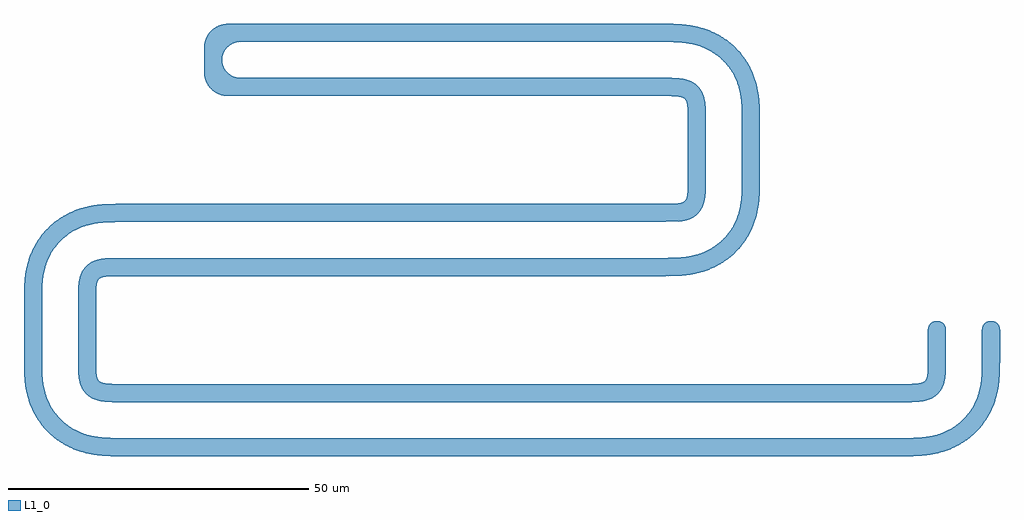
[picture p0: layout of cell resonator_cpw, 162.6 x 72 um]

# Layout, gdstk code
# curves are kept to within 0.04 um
from math import pi, radians
import gdstk
lib = gdstk.Library(unit=1e-6, precision=1e-09)
def R(c, l, rs):  # rectangles x0, y0, x1, y1
    for r in rs: c.add(gdstk.rectangle(r[:2], r[2:], *l))
def P(c, l, *ps):  # polygons
    for p in ps: c.add(gdstk.Polygon(p, *l))
L1_0 = (1, 0)

boolean_a2649c5d = lib.new_cell('boolean_a2649c5d')
R(boolean_a2649c5d, L1_0, [(-36,-50,-33,-40), (-27,-50,-24,-40), (114.6,-50,117.6,-45), (123.6,-50,126.6,-45), (74.6,-20,77.6,-10), (83.6,-20,86.6,-10)])
P(boolean_a2649c5d, L1_0, [(0,3),(71.023,3),(73.006,2.948),(74.344,2.814),(76.116,2.437),(77.749,1.811),(79.272,0.898),(80.611,-0.268),(81.38,-1.169),(82.039,-2.154),(82.576,-3.209),(82.982,-4.303),(83.261,-5.381),(83.478,-6.768),(83.579,-8.23),(83.6,-10),(86.6,-10),(86.577,-8.124),(86.481,-6.641),(86.282,-5.2),(85.982,-3.872),(85.61,-2.715),(85.11,-1.541),(84.495,-0.417),(83.773,0.642),(82.95,1.625),(82.035,2.522),(81.036,3.325),(79.963,4.027),(78.827,4.62),(77.651,5.095),(76.501,5.442),(74.975,5.753),(73.195,5.942),(71.03,6),(0,6)],
  [(70.884,-36),(73.195,-35.942),(74.975,-35.753),(76.728,-35.382),(78.121,-34.921),(79.741,-34.154),(81.242,-33.173),(82.411,-32.174),(83.616,-30.845),(84.359,-29.8),(84.996,-28.688),(85.521,-27.521),(85.982,-26.128),(86.282,-24.8),(86.481,-23.359),(86.577,-21.876),(86.6,-20),(83.6,-20),(83.537,-22.569),(83.413,-23.744),(83.222,-24.797),(82.924,-25.879),(82.576,-26.791),(82.137,-27.675),(81.613,-28.511),(81.009,-29.293),(80.332,-30.011),(79.587,-30.66),(78.783,-31.232),(77.926,-31.723),(76.844,-32.197),(75.935,-32.488),(74.865,-32.729),(73.169,-32.937),(71.023,-33),(-20.409,-33),(-22.143,-33.048),(-23.481,-33.232),(-24.531,-33.588),(-25.396,-34.154),(-26.09,-34.919),(-26.54,-35.762),(-26.825,-36.803),(-26.96,-37.971),(-27,-40),(-24,-40),(-23.938,-37.818),(-23.841,-37.176),(-23.674,-36.705),(-23.399,-36.396),(-23.064,-36.224),(-22.406,-36.087),(-21.652,-36.024)],
  [(-20.271,-54),(-21.652,-53.976),(-22.541,-53.894),(-23.164,-53.739),(-23.537,-53.479),(-23.776,-53.064),(-23.913,-52.406),(-24,-50),(-27,-50),(-26.934,-52.366),(-26.677,-53.836),(-26.412,-54.531),(-26.044,-55.146),(-25.573,-55.686),(-25.015,-56.135),(-24.386,-56.479),(-23.75,-56.701),(-22.898,-56.873),(-21.913,-56.966),(111.913,-56.99),(113.498,-56.873),(114.761,-56.57),(115.746,-56.044),(116.498,-55.335),(117.046,-54.459),(117.388,-53.388),(117.552,-52.143),(117.6,-50),(114.6,-50),(114.522,-52.334),(114.397,-52.996),(114.241,-53.348),(113.948,-53.641),(113.596,-53.797),(112.934,-53.922),(111.946,-53.988)],
  [(0,-6),(72.252,-6.024),(73.006,-6.087),(73.664,-6.224),(74.032,-6.421),(74.274,-6.705),(74.43,-7.129),(74.538,-7.818),(74.6,-10),(77.6,-10),(77.566,-8.087),(77.407,-6.706),(77.11,-5.687),(76.644,-4.854),(75.873,-4.052),(74.986,-3.521),(73.894,-3.193),(72.513,-3.034),(0,-3)],
  [(70.874,-27),(72.966,-26.934),(74.35,-26.701),(75.412,-26.262),(76.286,-25.573),(76.94,-24.673),(77.347,-23.573),(77.552,-22.143),(77.6,-20),(74.6,-20),(74.546,-22.101),(74.441,-22.824),(74.274,-23.295),(74.032,-23.579),(73.664,-23.776),(73.006,-23.913),(72.252,-23.976),(-20.43,-24),(-22.23,-24.038),(-23.757,-24.163),(-25.234,-24.403),(-26.586,-24.752),(-27.993,-25.275),(-29.141,-25.846),(-30.227,-26.526),(-31.434,-27.478),(-32.35,-28.375),(-33.173,-29.358),(-33.895,-30.417),(-34.51,-31.541),(-35.01,-32.715),(-35.382,-33.872),(-35.681,-35.2),(-35.881,-36.641),(-35.977,-38.124),(-36,-40),(-33,-40),(-32.979,-38.23),(-32.878,-36.768),(-32.661,-35.381),(-32.382,-34.303),(-31.896,-33.029),(-31.337,-31.984),(-30.66,-31.013),(-29.873,-30.127),(-28.511,-28.987),(-26.971,-28.105),(-25.335,-27.512),(-23.402,-27.142),(-21.927,-27.027),(-20.423,-27)],
  [(110.884,-66),(113.011,-65.953),(114.561,-65.812),(116.054,-65.549),(117.651,-65.095),(119.059,-64.51),(120.4,-63.759),(121.645,-62.855),(122.774,-61.811),(123.773,-60.642),(124.495,-59.583),(125.22,-58.227),(125.774,-56.818),(126.197,-55.234),(126.437,-53.757),(126.57,-52.051),(126.6,-50),(123.6,-50),(123.565,-52.085),(123.437,-53.572),(123.18,-54.975),(122.797,-56.244),(122.232,-57.501),(121.613,-58.511),(120.747,-59.588),(119.741,-60.536),(118.948,-61.124),(118.101,-61.632),(117.209,-62.054),(116.116,-62.437),(115.042,-62.696),(113.832,-62.878),(111.023,-63),(-20.423,-63),(-22.898,-62.911),(-24.975,-62.58),(-25.879,-62.324),(-26.791,-61.976),(-27.675,-61.537),(-28.511,-61.013),(-29.873,-59.873),(-30.66,-58.987),(-31.439,-57.846),(-31.976,-56.791),(-32.382,-55.698),(-32.661,-54.619),(-32.878,-53.232),(-32.979,-51.77),(-33,-50),(-36,-50),(-35.977,-51.876),(-35.881,-53.359),(-35.681,-54.8),(-35.382,-56.128),(-34.921,-57.521),(-34.396,-58.688),(-33.759,-59.8),(-33.016,-60.845),(-32.174,-61.811),(-31.045,-62.855),(-30.015,-63.619),(-28.916,-64.278),(-27.757,-64.826),(-26.356,-65.317),(-25.016,-65.641),(-23.557,-65.86),(-22.23,-65.962),(-20.43,-66)])

cpw_662e25e0 = lib.new_cell('cpw_662e25e0')
cpw_662e25e0.add(gdstk.Reference(boolean_a2649c5d, (0,0)))

termination_open_gap3p0_ = lib.new_cell('termination_open_gap3p0_width6p0')
P(termination_open_gap3p0_, L1_0, [(3,0),(2.945,0.572),(2.782,1.124),(2.516,1.634),(2.158,2.084),(1.678,2.487),(1.172,2.762),(0.624,2.934),(0.052,3),(-0.572,2.945),(-1.124,2.782),(-1.634,2.516),(-2.084,2.158),(-2.487,1.678),(-2.762,1.172),(-2.945,0.572),(-3,0),(-6,0),(-5.985,2.349),(-5.881,2.968),(-5.709,3.498),(-5.277,4.294),(-4.677,4.973),(-3.878,5.532),(-2.968,5.881),(-2.14,5.998),(2.14,5.998),(2.832,5.913),(3.498,5.709),(4.179,5.355),(4.779,4.877),(5.277,4.294),(5.654,3.627),(5.864,3.035),(5.985,2.349),(6,0)])

termination_closed_gap3p = lib.new_cell('termination_closed_gap3p0_width6p0')
P(termination_closed_gap3p, L1_0, [(-3,0),(-3.104,0.55),(-3.439,1.061),(-3.902,1.376),(-4.474,1.5),(-5.05,1.396),(-5.561,1.061),(-5.876,0.598),(-6,0.026)],
  [(3,0),(3.104,0.55),(3.439,1.061),(3.902,1.376),(4.474,1.5),(5.05,1.396),(5.561,1.061),(5.876,0.598),(6,0.026)])

resonator_cpw = lib.new_cell('resonator_cpw')
resonator_cpw.add(gdstk.Reference(cpw_662e25e0, (0,0)))
resonator_cpw.add(gdstk.Reference(termination_open_gap3p0_, (0,0), rotation=pi/2))
resonator_cpw.add(gdstk.Reference(termination_closed_gap3p, (120.6,-45)))

lib.write_gds('resonator_cpw.gds')
